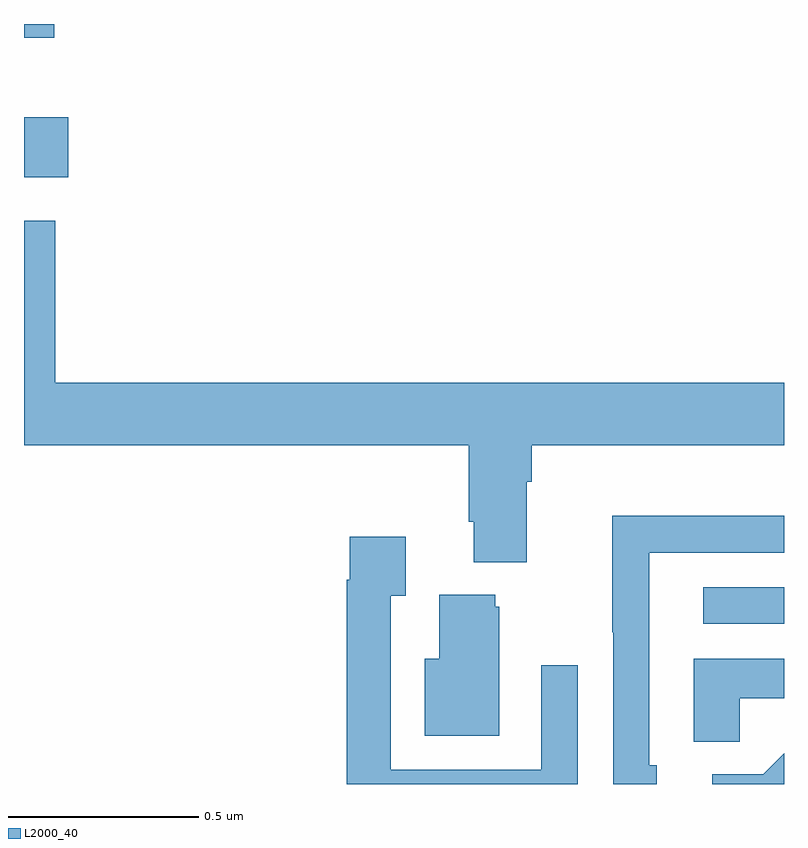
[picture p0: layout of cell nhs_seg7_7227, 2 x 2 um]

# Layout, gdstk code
import gdstk
lib = gdstk.Library(unit=1e-6, precision=1e-09)
def R(c, l, rs):  # rectangles x0, y0, x1, y1
    for r in rs: c.add(gdstk.rectangle(r[:2], r[2:], *l))
def P(c, l, *ps):  # polygons
    for p in ps: c.add(gdstk.Polygon(p, *l))
L2000_40 = (2000, 40)

nhs_seg7_7227 = lib.new_cell('nhs_seg7_7227')
R(nhs_seg7_7227, L2000_40, [(209.787,1057.422,210,1057.518), (208,1058.597,208.117,1058.755), (208,1058.964,208.079,1059)])
P(nhs_seg7_7227, L2000_40, [(209.323,1057.796),(209.336,1057.796),(209.336,1057.892),(210,1057.892),(210,1058.056),(208.082,1058.056),(208.082,1058.482),(208,1058.482),(208,1057.892),(209.171,1057.892),(209.171,1057.69),(209.183,1057.69),(209.183,1057.583),(209.323,1057.583)],
  [(209.665,1057.05),(209.646,1057.05),(209.646,1057.608),(210,1057.608),(210,1057.706),(209.548,1057.706),(209.548,1057.399),(209.55,1057.399),(209.55,1057),(209.665,1057)],
  [(209.457,1057.312),(209.361,1057.312),(209.361,1057.038),(208.965,1057.038),(208.965,1057.495),(209.005,1057.495),(209.005,1057.651),(208.857,1057.651),(208.857,1057.538),(208.849,1057.538),(208.849,1057),(209.457,1057)],
  [(209.251,1057.467),(209.24,1057.467),(209.24,1057.498),(209.093,1057.498),(209.093,1057.33),(209.054,1057.33),(209.054,1057.127),(209.251,1057.127)],
  [(209.883,1057.226),(210,1057.226),(210,1057.33),(209.762,1057.33),(209.762,1057.111),(209.883,1057.111)],
  [(210,1057.081),(209.945,1057.026),(209.811,1057.026),(209.811,1057),(210,1057)])

lib.write_gds('nhs_seg7_7227.gds')
